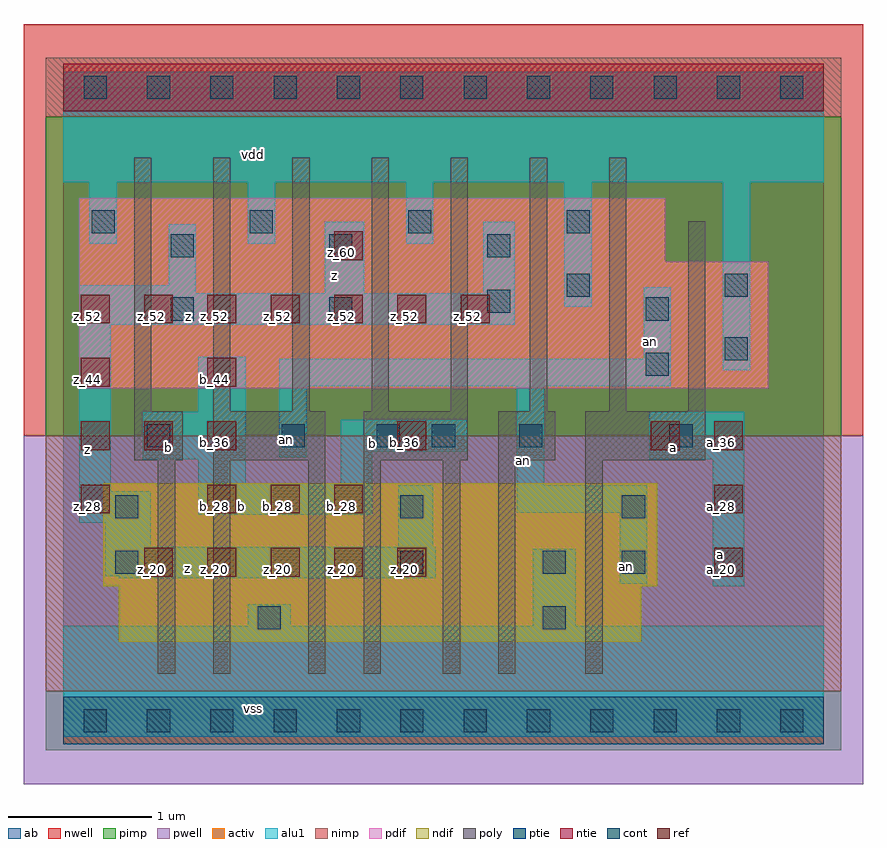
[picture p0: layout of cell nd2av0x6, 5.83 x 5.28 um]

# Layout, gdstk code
import gdstk
lib = gdstk.Library(unit=1e-6, precision=2.5e-09)
def R(c, l, rs):  # rectangles x0, y0, x1, y1
    for r in rs: c.add(gdstk.rectangle(r[:2], r[2:], *l))
def A(c, l, x, y, w, h, nx, ny, dx, dy):  # array of equal rectangles
    R(c, l, [(x+i*dx, y+j*dy, x+i*dx+w, y+j*dy+h) for i in range(nx) for j in range(ny)])
ndif = (3, 0)
pdif = (4, 0)
ntie = (5, 0)
ptie = (6, 0)
ref = (24, 0)
cont = (25, 0)
pwell = (41, 0)
nwell = (42, 0)
activ = (43, 0)
pimp = (44, 0)
nimp = (45, 0)
poly = (46, 0)
alu1 = (49, 0)
ab = (63, 0)

nd2av0x6 = lib.new_cell('nd2av0x6')
R(nd2av0x6, ndif, [(0.385,0.55,4.015,0.935), (0.275,0.935,4.125,1.65)])
R(nd2av0x6, pdif, [(0.11,2.31,4.895,3.19), (0.11,3.19,4.18,3.63)])
R(nd2av0x6, ntie, [(0,4.235,5.28,4.565)])
R(nd2av0x6, ptie, [(0,-0.165,5.28,0.165)])
A(nd2av0x6, ref, 0.56, 1, 0.2, 0.2, 5, 1, 0.44, 0)
A(nd2av0x6, ref, 4.52, 1, 0.2, 0.2, 1, 3, 0, 0.44)
A(nd2av0x6, ref, 1, 1.44, 0.2, 0.2, 3, 1, 0.44, 0)
A(nd2av0x6, ref, 0.12, 1.88, 0.2, 0.2, 3, 1, 0.44, 0)
A(nd2av0x6, ref, 0.12, 2.76, 0.2, 0.2, 7, 1, 0.44, 0)
R(nd2av0x6, ref, [(0.12,1.44,0.32,1.64), (2.32,1.88,2.52,2.08), (4.08,1.88,4.28,2.08), (0.12,2.32,0.32,2.52), (1,2.32,1.2,2.52), (1.88,3.2,2.08,3.4)])
A(nd2av0x6, cont, 0.14, -0.08, 0.16, 0.16, 12, 2, 0.44, 4.4)
A(nd2av0x6, cont, 0.745, 3.22, 0.16, 0.16, 3, 1, 1.1, 0)
A(nd2av0x6, cont, 0.195, 3.385, 0.16, 0.16, 4, 1, 1.1, 0)
R(nd2av0x6, cont, [(1.35,0.635,1.51,0.795), (3.33,0.635,3.49,0.795), (0.36,1.02,0.52,1.18), (2.34,1.02,2.5,1.18), (3.33,1.02,3.49,1.18), (3.88,1.02,4.04,1.18), (0.36,1.405,0.52,1.565), (2.34,1.405,2.5,1.565), (3.88,1.405,4.04,1.565), (0.58,1.9,0.74,2.06), (1.515,1.9,1.675,2.06), (2.175,1.9,2.335,2.06), (2.56,1.9,2.72,2.06), (3.165,1.9,3.325,2.06), (4.21,1.9,4.37,2.06), (4.045,2.395,4.205,2.555), (4.595,2.505,4.755,2.665), (0.745,2.78,0.905,2.94), (1.845,2.78,2.005,2.94), (4.045,2.78,4.205,2.94), (2.945,2.835,3.105,2.995), (3.495,2.945,3.655,3.105), (4.595,2.945,4.755,3.105)])
R(nd2av0x6, pwell, [(-0.275,-0.44,5.555,1.98)])
R(nd2av0x6, nwell, [(-0.275,1.98,5.555,4.84)])
R(nd2av0x6, activ, [(0,-0.165,5.28,0.165), (0.385,0.55,4.015,0.935), (0.275,0.935,4.125,1.65), (0.11,2.31,4.895,3.19), (0.11,3.19,4.18,3.63), (0,4.235,5.28,4.565)])
R(nd2av0x6, pimp, [(-0.125,-0.205,5.405,0.205), (-0.125,1.98,5.405,4.195)])
R(nd2av0x6, nimp, [(-0.125,0.205,5.405,1.98), (-0.125,4.195,5.405,4.605)])
A(nd2av0x6, poly, 0.49, 2.15, 0.12, 1.76, 7, 1, 0.55, 0)
R(nd2av0x6, poly, [(0.655,0.325,0.775,1.81), (1.04,0.325,1.16,1.81), (1.7,0.325,1.82,1.81), (2.085,0.325,2.205,1.81), (2.635,0.325,2.755,1.81), (3.02,0.325,3.14,1.81), (3.625,0.325,3.745,1.81), (0.49,1.81,0.83,2.15), (1.04,1.81,1.82,2.15), (2.085,1.81,2.81,2.15), (3.02,1.81,3.415,2.15), (3.625,1.81,4.46,2.15), (4.34,2.15,4.46,3.47)])
A(nd2av0x6, alu1, 0.18, 3.315, 0.19, 0.425, 3, 1, 1.1, 0)
R(nd2av0x6, alu1, [(0,-0.11,5.28,0.66), (1.28,0.66,1.58,0.81), (3.26,0.66,3.56,1.195), (4.51,0.935,4.73,1.815), (3.865,0.95,4.055,1.445), (0.385,0.99,2.585,1.005), (0.29,1.005,2.585,1.21), (0.29,1.21,0.605,1.375), (2.325,1.21,2.57,1.635), (0.11,1.375,0.605,1.595), (0.935,1.43,2.145,1.65), (3.15,1.445,4.055,1.635), (0.11,1.595,0.33,2.75), (3.15,1.635,3.34,2.325), (0.935,1.65,1.265,1.815), (1.925,1.65,2.145,1.87), (0.55,1.815,1.265,2.145), (4.07,1.815,4.73,2.145), (1.5,1.83,1.69,2.325), (1.925,1.87,2.805,2.09), (0.935,2.145,1.265,2.53), (1.5,2.325,4.22,2.515), (4.58,2.435,4.77,3.74), (4.03,2.515,4.22,3.01), (0.11,2.75,3.135,2.97), (3.48,2.875,3.67,3.74), (0.11,2.97,0.92,3.025), (1.815,2.97,2.09,3.465), (2.915,2.97,3.135,3.465), (0.73,3.025,0.92,3.45), (0,3.74,5.28,4.51)])
R(nd2av0x6, ab, [(0,0,5.28,4.4)])
nd2av0x6.add(gdstk.Label('vss', (1.32,0.0825), layer=49, texttype=0))
nd2av0x6.add(gdstk.Label('a', (4.565,1.155), layer=49, texttype=0))
nd2av0x6.add(gdstk.Label('an', (3.9125,1.0725), layer=49, texttype=0))
nd2av0x6.add(gdstk.Label('z', (0.8625,1.055), layer=49, texttype=0))
nd2av0x6.add(gdstk.Label('a', (4.235,1.8975), layer=49, texttype=0))
nd2av0x6.add(gdstk.Label('an', (3.1975,1.8075), layer=49, texttype=0))
nd2av0x6.add(gdstk.Label('b', (1.2375,1.485), layer=49, texttype=0))
nd2av0x6.add(gdstk.Label('b', (2.145,1.925), layer=49, texttype=0))
nd2av0x6.add(gdstk.Label('an', (1.5475,1.9525), layer=49, texttype=0))
nd2av0x6.add(gdstk.Label('b', (0.7275,1.8975), layer=49, texttype=0))
nd2av0x6.add(gdstk.Label('an', (4.0775,2.6375), layer=49, texttype=0))
nd2av0x6.add(gdstk.Label('z', (0.165,1.8825), layer=49, texttype=0))
nd2av0x6.add(gdstk.Label('z', (0.865,2.805), layer=49, texttype=0))
nd2av0x6.add(gdstk.Label('z', (1.8825,3.0925), layer=49, texttype=0))
nd2av0x6.add(gdstk.Label('vdd', (1.32,3.9325), layer=49, texttype=0))
nd2av0x6.add(gdstk.Label('z_20', (0.61,1.05), layer=24, texttype=0))
nd2av0x6.add(gdstk.Label('b_36', (0.61,1.93), layer=24, texttype=0))
nd2av0x6.add(gdstk.Label('z_52', (0.61,2.81), layer=24, texttype=0))
nd2av0x6.add(gdstk.Label('z_20', (1.05,1.05), layer=24, texttype=0))
nd2av0x6.add(gdstk.Label('b_28', (1.05,1.49), layer=24, texttype=0))
nd2av0x6.add(gdstk.Label('b_36', (1.05,1.93), layer=24, texttype=0))
nd2av0x6.add(gdstk.Label('b_44', (1.05,2.37), layer=24, texttype=0))
nd2av0x6.add(gdstk.Label('z_52', (1.05,2.81), layer=24, texttype=0))
nd2av0x6.add(gdstk.Label('z_20', (1.49,1.05), layer=24, texttype=0))
nd2av0x6.add(gdstk.Label('b_28', (1.49,1.49), layer=24, texttype=0))
nd2av0x6.add(gdstk.Label('z_52', (1.49,2.81), layer=24, texttype=0))
nd2av0x6.add(gdstk.Label('z_20', (1.93,1.05), layer=24, texttype=0))
nd2av0x6.add(gdstk.Label('b_28', (1.93,1.49), layer=24, texttype=0))
nd2av0x6.add(gdstk.Label('z_52', (1.93,2.81), layer=24, texttype=0))
nd2av0x6.add(gdstk.Label('z_60', (1.93,3.25), layer=24, texttype=0))
nd2av0x6.add(gdstk.Label('z_28', (0.17,1.49), layer=24, texttype=0))
nd2av0x6.add(gdstk.Label('z_36', (0.17,1.93), layer=24, texttype=0))
nd2av0x6.add(gdstk.Label('z_44', (0.17,2.37), layer=24, texttype=0))
nd2av0x6.add(gdstk.Label('z_52', (0.17,2.81), layer=24, texttype=0))
nd2av0x6.add(gdstk.Label('z_20', (2.37,1.05), layer=24, texttype=0))
nd2av0x6.add(gdstk.Label('b_36', (2.37,1.93), layer=24, texttype=0))
nd2av0x6.add(gdstk.Label('z_52', (2.37,2.81), layer=24, texttype=0))
nd2av0x6.add(gdstk.Label('z_52', (2.81,2.81), layer=24, texttype=0))
nd2av0x6.add(gdstk.Label('a_36', (4.13,1.93), layer=24, texttype=0))
nd2av0x6.add(gdstk.Label('a_20', (4.57,1.05), layer=24, texttype=0))
nd2av0x6.add(gdstk.Label('a_28', (4.57,1.49), layer=24, texttype=0))
nd2av0x6.add(gdstk.Label('a_36', (4.57,1.93), layer=24, texttype=0))

lib.write_gds('nd2av0x6.gds')
